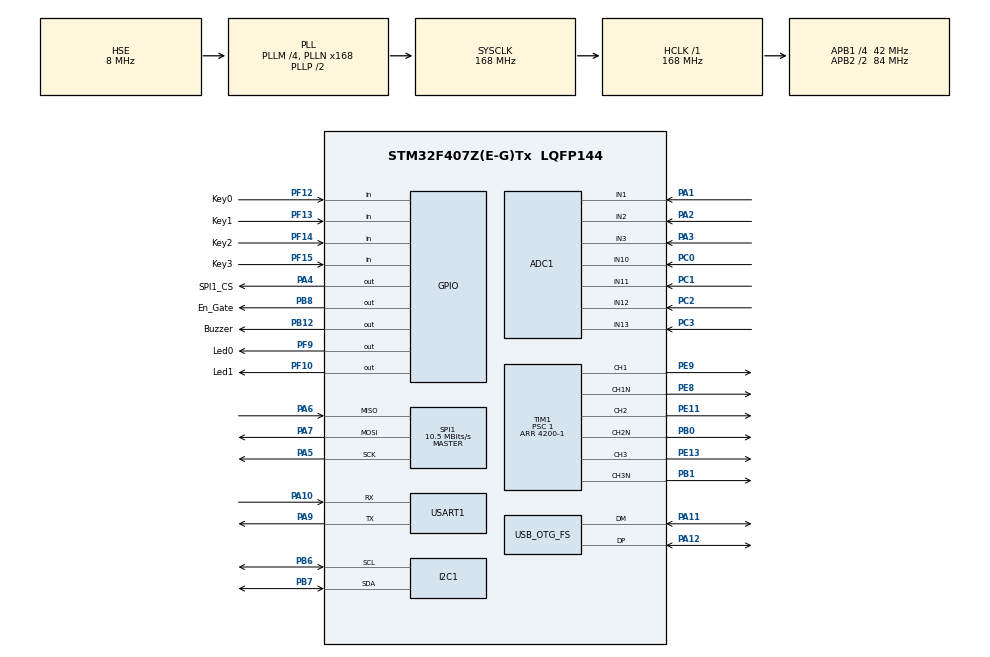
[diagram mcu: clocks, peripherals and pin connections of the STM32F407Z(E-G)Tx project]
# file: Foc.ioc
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ADC1.Channel-1\#ChannelRegularConversion=ADC_CHANNEL_10
ADC1.Channel-2\#ChannelRegularConversion=ADC_CHANNEL_11
ADC1.Channel-3\#ChannelRegularConversion=ADC_CHANNEL_12
ADC1.Channel-4\#ChannelRegularConversion=ADC_CHANNEL_13
ADC1.Channel-5\#ChannelRegularConversion=ADC_CHANNEL_1
ADC1.Channel-6\#ChannelRegularConversion=ADC_CHANNEL_2
ADC1.Channel-7\#ChannelRegularConversion=ADC_CHANNEL_3
ADC1.ContinuousConvMode=ENABLE
ADC1.DMAContinuousRequests=ENABLE
ADC1.NbrOfConversion=7
ADC1.NbrOfConversionFlag=1
ADC1.Rank-1\#ChannelRegularConversion=1
ADC1.Rank-2\#ChannelRegularConversion=2
ADC1.Rank-3\#ChannelRegularConversion=3
ADC1.Rank-4\#ChannelRegularConversion=4
ADC1.Rank-5\#ChannelRegularConversion=5
ADC1.Rank-6\#ChannelRegularConversion=6
ADC1.Rank-7\#ChannelRegularConversion=7
ADC1.SamplingTime-1\#ChannelRegularConversion=ADC_SAMPLETIME_3CYCLES
ADC1.SamplingTime-2\#ChannelRegularConversion=ADC_SAMPLETIME_3CYCLES
ADC1.SamplingTime-3\#ChannelRegularConversion=ADC_SAMPLETIME_3CYCLES
ADC1.SamplingTime-4\#ChannelRegularConversion=ADC_SAMPLETIME_3CYCLES
ADC1.SamplingTime-5\#ChannelRegularConversion=ADC_SAMPLETIME_3CYCLES
ADC1.SamplingTime-6\#ChannelRegularConversion=ADC_SAMPLETIME_3CYCLES
ADC1.SamplingTime-7\#ChannelRegularConversion=ADC_SAMPLETIME_3CYCLES
ADC1.ScanConvMode=ENABLE
ADC1.master=1
Dma.ADC1.0.Direction=DMA_PERIPH_TO_MEMORY
Dma.ADC1.0.FIFOMode=DMA_FIFOMODE_DISABLE
Dma.ADC1.0.Instance=DMA2_Stream0
Dma.ADC1.0.MemDataAlignment=DMA_MDATAALIGN_HALFWORD
Dma.ADC1.0.MemInc=DMA_MINC_ENABLE
Dma.ADC1.0.Mode=DMA_CIRCULAR
Dma.ADC1.0.PeriphDataAlignment=DMA_PDATAALIGN_HALFWORD
Dma.ADC1.0.PeriphInc=DMA_PINC_DISABLE
Dma.ADC1.0.Priority=DMA_PRIORITY_LOW
Dma.Request0=ADC1
Dma.Request1=USART1_TX
Dma.USART1_TX.1.Direction=DMA_MEMORY_TO_PERIPH
Dma.USART1_TX.1.FIFOMode=DMA_FIFOMODE_DISABLE
Dma.USART1_TX.1.Instance=DMA2_Stream7
Dma.USART1_TX.1.MemDataAlignment=DMA_MDATAALIGN_BYTE
Dma.USART1_TX.1.MemInc=DMA_MINC_ENABLE
Dma.USART1_TX.1.Mode=DMA_NORMAL
Dma.USART1_TX.1.PeriphDataAlignment=DMA_PDATAALIGN_BYTE
Dma.USART1_TX.1.PeriphInc=DMA_PINC_DISABLE
Dma.USART1_TX.1.Priority=DMA_PRIORITY_LOW
FREERTOS.Tasks01=defaultTask,24,128,StartDefaultTask,Default,NULL,Dynamic,NULL,NULL
Mcu.Family=STM32F4
Mcu.Name=STM32F407Z(E-G)Tx
Mcu.Package=LQFP144
NVIC.DMA2_Stream0_IRQn=true\:5\:0\:false\:false\:true\:true\:false\:true\:true
NVIC.DMA2_Stream7_IRQn=true\:5\:0\:false\:false\:true\:true\:false\:true\:true
NVIC.OTG_FS_IRQn=true\:5\:0\:false\:false\:true\:true\:false\:true\:true
NVIC.PriorityGroup=NVIC_PRIORITYGROUP_4
NVIC.TIM4_IRQn=true\:5\:0\:false\:false\:true\:true\:true\:true\:true
NVIC.TIM6_DAC_IRQn=true\:15\:0\:false\:false\:true\:false\:false\:true\:true
NVIC.TIM7_IRQn=true\:5\:0\:false\:false\:true\:true\:true\:true\:true
NVIC.TimeBase=TIM6_DAC_IRQn
NVIC.TimeBaseIP=TIM6
NVIC.USART1_IRQn=true\:5\:0\:false\:false\:true\:true\:true\:true\:true
PA1.Signal=ADCx_IN1
PA10.Mode=Asynchronous
PA10.Signal=USART1_RX
PA11.Mode=Device_Only
PA11.Signal=USB_OTG_FS_DM
PA12.Mode=Device_Only
PA12.Signal=USB_OTG_FS_DP
PA13.Mode=Serial_Wire
PA13.Signal=SYS_JTMS-SWDIO
PA14.Mode=Serial_Wire
PA14.Signal=SYS_JTCK-SWCLK
PA2.Signal=ADCx_IN2
PA3.Signal=ADCx_IN3
PA4.GPIO_Label=SPI1_CS
PA4.GPIO_ModeDefaultOutputPP=GPIO_MODE_OUTPUT_PP
PA4.GPIO_Speed=GPIO_SPEED_FREQ_HIGH
PA4.PinState=GPIO_PIN_SET
PA4.Signal=GPIO_Output
PA5.Mode=Full_Duplex_Master
PA5.Signal=SPI1_SCK
PA6.Mode=Full_Duplex_Master
PA6.Signal=SPI1_MISO
PA7.Mode=Full_Duplex_Master
PA7.Signal=SPI1_MOSI
PA9.Mode=Asynchronous
PA9.Signal=USART1_TX
PB0.Mode=PWM Generation2 CH2 CH2N
PB0.Signal=TIM1_CH2N
PB1.Mode=PWM Generation3 CH3 CH3N
PB1.Signal=TIM1_CH3N
PB12.GPIO_Label=Buzzer
PB12.GPIO_ModeDefaultOutputPP=GPIO_MODE_OUTPUT_PP
PB12.Signal=GPIO_Output
PB6.Mode=I2C
PB6.Signal=I2C1_SCL
PB7.Mode=I2C
PB7.Signal=I2C1_SDA
PB8.GPIO_Label=En_Gate
PB8.GPIO_PuPd=GPIO_PULLDOWN
PB8.Signal=GPIO_Output
PC0.Signal=ADCx_IN10
PC1.Signal=ADCx_IN11
PC14-OSC32_IN.Mode=LSE-External-Oscillator
PC14-OSC32_IN.Signal=RCC_OSC32_IN
PC15-OSC32_OUT.Mode=LSE-External-Oscillator
PC15-OSC32_OUT.Signal=RCC_OSC32_OUT
PC2.Signal=ADCx_IN12
PC3.Signal=ADCx_IN13
PE11.Signal=S_TIM1_CH2
PE13.Signal=S_TIM1_CH3
PE8.Mode=PWM Generation1 CH1 CH1N
PE8.Signal=TIM1_CH1N
PE9.Signal=S_TIM1_CH1
PF10.GPIO_Label=Led1
PF10.PinState=GPIO_PIN_SET
PF10.Signal=GPIO_Output
PF12.GPIO_Label=Key0
PF12.GPIO_PuPd=GPIO_PULLUP
PF12.Signal=GPIO_Input
PF13.GPIO_Label=Key1
PF13.GPIO_PuPd=GPIO_PULLUP
PF13.Signal=GPIO_Input
PF14.GPIO_Label=Key2
PF14.GPIO_PuPd=GPIO_PULLUP
PF14.Signal=GPIO_Input
PF15.GPIO_Label=Key3
PF15.GPIO_PuPd=GPIO_PULLUP
PF15.Signal=GPIO_Input
PF9.GPIO_Label=Led0
PF9.PinState=GPIO_PIN_SET
PF9.Signal=GPIO_Output
PH0-OSC_IN.Mode=HSE-External-Oscillator
PH0-OSC_IN.Signal=RCC_OSC_IN
PH1-OSC_OUT.Mode=HSE-External-Oscillator
PH1-OSC_OUT.Signal=RCC_OSC_OUT
ProjectManager.HeapSize=0x200
ProjectManager.StackSize=0x400
ProjectManager.TargetToolchain=MDK-ARM V5.32
RCC.48MHZClocksFreq_Value=48000000
RCC.AHBFreq_Value=168000000
RCC.APB1CLKDivider=RCC_HCLK_DIV4
RCC.APB1Freq_Value=42000000
RCC.APB1TimFreq_Value=84000000
RCC.APB2CLKDivider=RCC_HCLK_DIV2
RCC.APB2Freq_Value=84000000
RCC.APB2TimFreq_Value=168000000
RCC.CortexFreq_Value=168000000
RCC.HCLKFreq_Value=168000000
RCC.HSE_VALUE=8000000
RCC.HSI_VALUE=16000000
RCC.PLLM=4
RCC.PLLN=168
RCC.PLLQ=7
RCC.RCC_RTC_Clock_Source=RCC_RTCCLKSOURCE_LSE
RCC.RCC_RTC_Clock_SourceVirtual=RCC_RTCCLKSOURCE_LSE
RCC.SYSCLKFreq_VALUE=168000000
RCC.SYSCLKSource=RCC_SYSCLKSOURCE_PLLCLK
RCC.VCOOutputFreq_Value=336000000
SH.ADCx_IN1.0=ADC1_IN1,IN1
SH.ADCx_IN10.0=ADC1_IN10,IN10
SH.ADCx_IN11.0=ADC1_IN11,IN11
SH.ADCx_IN12.0=ADC1_IN12,IN12
SH.ADCx_IN13.0=ADC1_IN13,IN13
SH.ADCx_IN2.0=ADC1_IN2,IN2
SH.ADCx_IN3.0=ADC1_IN3,IN3
SH.S_TIM1_CH1.0=TIM1_CH1,PWM Generation1 CH1 CH1N
SH.S_TIM1_CH2.0=TIM1_CH2,PWM Generation2 CH2 CH2N
SH.S_TIM1_CH3.0=TIM1_CH3,PWM Generation3 CH3 CH3N
SPI1.BaudRatePrescaler=SPI_BAUDRATEPRESCALER_8
SPI1.CLKPhase=SPI_PHASE_2EDGE
SPI1.CalculateBaudRate=10.5 MBits/s
SPI1.Direction=SPI_DIRECTION_2LINES
SPI1.Mode=SPI_MODE_MASTER
SPI1.VirtualType=VM_MASTER
STMicroelectronics.X-CUBE-ALGOBUILD.1.4.0.LibraryCcDSPOoLibraryJjDSPOoLibrary=true
TIM1.Channel-PWM\ Generation1\ CH1\ CH1N=TIM_CHANNEL_1
TIM1.Channel-PWM\ Generation2\ CH2\ CH2N=TIM_CHANNEL_2
TIM1.Channel-PWM\ Generation3\ CH3\ CH3N=TIM_CHANNEL_3
TIM1.CounterMode=TIM_COUNTERMODE_CENTERALIGNED1
TIM1.Period=4200-1
TIM1.Prescaler=1
TIM1.Pulse-PWM\ Generation1\ CH1\ CH1N=1260
TIM1.Pulse-PWM\ Generation2\ CH2\ CH2N=2100
TIM1.Pulse-PWM\ Generation3\ CH3\ CH3N=2940
TIM4.Period=1000-1
TIM4.Prescaler=1680-1
TIM7.Period=1666
TIM7.Prescaler=1 - 1
USART1.VirtualMode=VM_ASYNC
USB_DEVICE.CLASS_NAME_FS=HID
USB_DEVICE.VirtualMode-HID_FS=Hid
USB_DEVICE.VirtualModeFS=Hid_FS
USB_OTG_FS.VirtualMode=Device_Only
VP_FREERTOS_VS_CMSIS_V2.Mode=CMSIS_V2
VP_STMicroelectronics.X-CUBE-ALGOBUILD_VS_DSPOoLibraryJjLibrary_1.4.0_1.4.0.Mode=DSPOoLibraryJjLibrary
VP_SYS_VS_tim6.Mode=TIM6
VP_TIM1_VS_ClockSourceINT.Mode=Internal
VP_TIM4_VS_ClockSourceINT.Mode=Internal
VP_TIM7_VS_ClockSourceINT.Mode=Enable_Timer
VP_USB_DEVICE_VS_USB_DEVICE_HID_FS.Mode=HID_FS
board=custom

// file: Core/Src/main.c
/* USER CODE BEGIN Header */
/**
  ******************************************************************************
  * @file           : main.c
  * @brief          : Main program body
  ******************************************************************************
  * @attention
  *
  * Copyright (c) 2024 STMicroelectronics.
  * All rights reserved.
  *
  * This software is licensed under terms that can be found in the LICENSE file
  * in the root directory of this software component.
  * If no LICENSE file comes with this software, it is provided AS-IS.
  *
  ******************************************************************************
  */
/* USER CODE END Header */
#include "main.h"
#include "cmsis_os.h"
#include "adc.h"
#include "dma.h"
#include "i2c.h"
#include "spi.h"
#include "tim.h"
#include "usart.h"
#include "usb_device.h"
#include "gpio.h"

/* USER CODE BEGIN Includes */

#include "Foc.h"
#include "Bsp_I2c.h"
#include "Bsp_Adc.h"
#include "Bsp_DRV8301.h"

/* USER CODE END Includes */

/* USER CODE BEGIN PD */

#define PI 		3.14159265358979f

/* USER CODE END PD */

/* USER CODE BEGIN PM */

//ADC
extern uint16_t dmaDataBuffer[BATCH_DATA_LEN];
int ADC_Value;

//RX
uint8_t aRxBuffer[3];
//TX
float Ivuw_temp[3];
float Iabc_temp[3];
uint8_t temp_Data[16] = {0,0,0,0,
						 0,0,0,0,
						 0,0,0,0,
						 0,0,0x80,0x7f};//

uint16_t Angle;

//SVPWM
float Vd=0;
float Vq=1;
float theta = 0;
float Vbus;
uint16_t Tpwm = 8400;

uint32_t CCR1;
uint32_t CCR2;
uint32_t CCR3;

//FOC_Speed
int FOC_Speed = 120;		//   r/min
float One_rad;
int ARR7;

/* USER CODE END PM */

void SystemClock_Config(void);
void MX_FREERTOS_Init(void);

int main(void)
{

  /* MCU Configuration--------------------------------------------------------*/

  /* Reset of all peripherals, Initializes the Flash interface and the Systick. */
  HAL_Init();

  /* Configure the system clock */
  SystemClock_Config();

  /* Initialize all configured peripherals */
  MX_GPIO_Init();
  MX_DMA_Init();
  MX_USART1_UART_Init();
  MX_SPI1_Init();
  MX_I2C1_Init();
  MX_TIM4_Init();
  MX_ADC1_Init();
  MX_TIM1_Init();
  MX_TIM7_Init();
  /* USER CODE BEGIN 2 */

  	HAL_Delay(500);

	HAL_UART_Receive_IT(&huart1, (uint8_t *)&aRxBuffer, 1);	//Uart

	Drv8301_Init();											//Drv8301
	FOC_Speed = 30;
	One_rad = 60.0f / (float)FOC_Speed * 1000.0f;
	ARR7 = (int) (One_rad / 7.0f / 3600.0f * 1000.0f * 84.0f);
	TIM7->ARR = ARR7;

	HAL_TIM_PWM_Start(&htim1, TIM_CHANNEL_1);
	HAL_TIMEx_PWMN_Start(&htim1, TIM_CHANNEL_1);

	HAL_TIM_PWM_Start(&htim1, TIM_CHANNEL_2);
	HAL_TIMEx_PWMN_Start(&htim1, TIM_CHANNEL_2);

	HAL_TIM_PWM_Start(&htim1, TIM_CHANNEL_3);
	HAL_TIMEx_PWMN_Start(&htim1, TIM_CHANNEL_3);

//	Enable_dma_adc(&hadc1);									//Adc

	//开启Foc
	HAL_TIM_Base_Start_IT(&htim7);							//Interrupt

  /* USER CODE END 2 */

  /* Init scheduler */
  osKernelInitialize();

  /* Call init function for freertos objects (in cmsis_os2.c) */
  MX_FREERTOS_Init();

  /* Start scheduler */
  osKernelStart();

  /* We should never get here as control is now taken by the scheduler */

  /* Infinite loop */
  while (1)
  {

  }
}

void SystemClock_Config(void)
{
  RCC_OscInitTypeDef RCC_OscInitStruct = {0};
  RCC_ClkInitTypeDef RCC_ClkInitStruct = {0};

  /** Configure the main internal regulator output voltage
  */
  __HAL_RCC_PWR_CLK_ENABLE();
  __HAL_PWR_VOLTAGESCALING_CONFIG(PWR_REGULATOR_VOLTAGE_SCALE1);

  /** Initializes the RCC Oscillators according to the specified parameters
  * in the RCC_OscInitTypeDef structure.
  */
  RCC_OscInitStruct.OscillatorType = RCC_OSCILLATORTYPE_HSE;
  RCC_OscInitStruct.HSEState = RCC_HSE_ON;
  RCC_OscInitStruct.PLL.PLLState = RCC_PLL_ON;
  RCC_OscInitStruct.PLL.PLLSource = RCC_PLLSOURCE_HSE;
  RCC_OscInitStruct.PLL.PLLM = 4;
  RCC_OscInitStruct.PLL.PLLN = 168;
  RCC_OscInitStruct.PLL.PLLP = RCC_PLLP_DIV2;
  RCC_OscInitStruct.PLL.PLLQ = 7;
  if (HAL_RCC_OscConfig(&RCC_OscInitStruct) != HAL_OK)
  {
    Error_Handler();
  }

  /** Initializes the CPU, AHB and APB buses clocks
  */
  RCC_ClkInitStruct.ClockType = RCC_CLOCKTYPE_HCLK|RCC_CLOCKTYPE_SYSCLK
                              |RCC_CLOCKTYPE_PCLK1|RCC_CLOCKTYPE_PCLK2;
  RCC_ClkInitStruct.SYSCLKSource = RCC_SYSCLKSOURCE_PLLCLK;
  RCC_ClkInitStruct.AHBCLKDivider = RCC_SYSCLK_DIV1;
  RCC_ClkInitStruct.APB1CLKDivider = RCC_HCLK_DIV4;
  RCC_ClkInitStruct.APB2CLKDivider = RCC_HCLK_DIV2;

  if (HAL_RCC_ClockConfig(&RCC_ClkInitStruct, FLASH_LATENCY_5) != HAL_OK)
  {
    Error_Handler();
  }
}

/* USER CODE BEGIN 4 */
void HAL_ADC_ConvCpltCallback(ADC_HandleTypeDef *hadc)
{

//	printf("Iabc:%d,%d,%d\n",(dmaDataBuffer[4]),(dmaDataBuffer[5]),(dmaDataBuffer[6]));̫

}
/* USER CODE END 4 */

void HAL_TIM_PeriodElapsedCallback(TIM_HandleTypeDef *htim)
{
  if (htim->Instance == TIM6)
  {
    HAL_IncTick();
  }
  /* USER CODE BEGIN Callback 1 */
    if (htim->Instance == TIM4){

	}

	if (htim->Instance == TIM7){

		Vbus = (float)(dmaDataBuffer[3])*8.336f/4095.0f*3.3f;
		if(Vbus > 3500)Vbus = 3500;

		Svpwm_ABC(0, 1, theta, 12, Tpwm);
		theta = theta + 0.001745329f;
		if(theta > 6.2831852f ){ theta = 0.0f;}

//		Ivuw_temp[0] = (float)(dmaDataBuffer[0])/4095.0f*3.3f*8.336f;
//		Ivuw_temp[1] = (float)(dmaDataBuffer[1])/4095.0f*3.3f*8.336f;
//		Ivuw_temp[2] = (float)(dmaDataBuffer[2])/4095.0f*3.3f*8.336f;
//		memcpy(temp_Data , (uint8_t *)Ivuw_temp ,sizeof(Ivuw_temp));
//		HAL_UART_Transmit_DMA(&huart1, (uint8_t *)temp_Data, 4*4);
//
		Iabc_temp[0] = (float)(dmaDataBuffer[4]/4095.0f*3.3f);
		Iabc_temp[1] = (float)(dmaDataBuffer[5]/4095.0f*3.3f);
		Iabc_temp[2] = (float)(dmaDataBuffer[6]/4095.0f*3.3f);
		memcpy(temp_Data , (uint8_t *)Iabc_temp ,sizeof(Iabc_temp));
		HAL_UART_Transmit_DMA(&huart1, (uint8_t *)temp_Data, 4*4);

	}
  /* USER CODE END Callback 1 */
}

void Error_Handler(void)
{
  __disable_irq();
  while (1)
  {
  }
}
